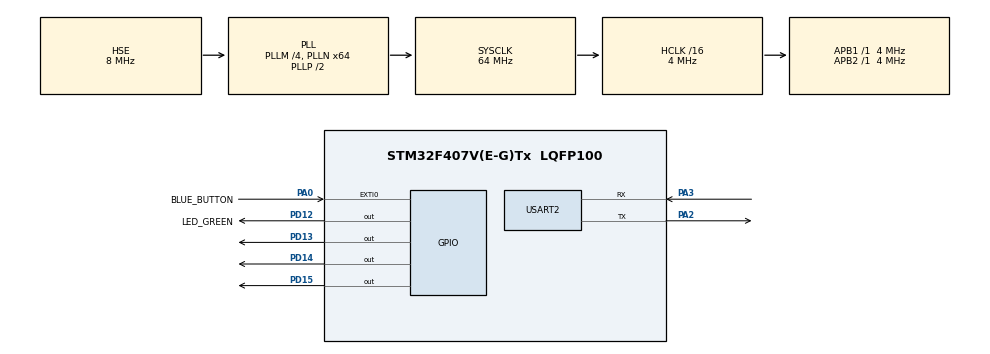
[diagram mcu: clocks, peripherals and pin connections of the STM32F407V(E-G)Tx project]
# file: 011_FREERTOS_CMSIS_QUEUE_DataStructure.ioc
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FREERTOS.Queues01=Queue1,8,Data,0,Dynamic,NULL,NULL
FREERTOS.Tasks01=Sender1,24,256,StartSender1,Default,NULL,Dynamic,NULL,NULL;Receiver,32,256,StartReceiver,Default,NULL,Dynamic,NULL,NULL;Sender2,24,256,StartSender2,Default,NULL,Dynamic,NULL,NULL
FREERTOS.configUSE_NEWLIB_REENTRANT=1
Mcu.Family=STM32F4
Mcu.Name=STM32F407V(E-G)Tx
Mcu.Package=LQFP100
NVIC.EXTI0_IRQn=true\:5\:0\:false\:false\:true\:true\:true\:true\:true
NVIC.PriorityGroup=NVIC_PRIORITYGROUP_4
NVIC.TIM8_TRG_COM_TIM14_IRQn=true\:15\:0\:false\:false\:true\:false\:false\:true\:true
NVIC.TimeBase=TIM8_TRG_COM_TIM14_IRQn
NVIC.TimeBaseIP=TIM14
NVIC.USART2_IRQn=true\:5\:0\:false\:false\:true\:true\:true\:true\:true
PA0-WKUP.GPIO_Label=BLUE_BUTTON
PA0-WKUP.Signal=GPXTI0
PA13.Mode=Trace_Asynchronous_SW
PA13.Signal=SYS_JTMS-SWDIO
PA14.Mode=Trace_Asynchronous_SW
PA14.Signal=SYS_JTCK-SWCLK
PA2.Mode=Asynchronous
PA2.Signal=USART2_TX
PA3.Mode=Asynchronous
PA3.Signal=USART2_RX
PB3.Mode=Trace_Asynchronous_SW
PB3.Signal=SYS_JTDO-SWO
PD12.GPIO_Label=LED_GREEN
PD12.Signal=GPIO_Output
PD13.Signal=GPIO_Output
PD14.Signal=GPIO_Output
PD15.Signal=GPIO_Output
PH0-OSC_IN.Mode=HSE-External-Oscillator
PH0-OSC_IN.Signal=RCC_OSC_IN
PH1-OSC_OUT.Mode=HSE-External-Oscillator
PH1-OSC_OUT.Signal=RCC_OSC_OUT
ProjectManager.HeapSize=0x200
ProjectManager.StackSize=0x400
ProjectManager.TargetToolchain=STM32CubeIDE
RCC.48MHZClocksFreq_Value=18285714.285714287
RCC.AHBCLKDivider=RCC_SYSCLK_DIV16
RCC.AHBFreq_Value=4000000
RCC.APB1Freq_Value=4000000
RCC.APB1TimFreq_Value=4000000
RCC.APB2Freq_Value=4000000
RCC.APB2TimFreq_Value=4000000
RCC.CortexFreq_Value=4000000
RCC.HCLKFreq_Value=4000000
RCC.HSE_VALUE=8000000
RCC.HSI_VALUE=16000000
RCC.LSE_VALUE=32768
RCC.PLLM=4
RCC.PLLN=64
RCC.PLLQ=7
RCC.PLLSourceVirtual=RCC_PLLSOURCE_HSE
RCC.SYSCLKFreq_VALUE=64000000
RCC.SYSCLKSource=RCC_SYSCLKSOURCE_PLLCLK
RCC.VCOOutputFreq_Value=128000000
USART2.VirtualMode=VM_ASYNC
VP_FREERTOS_VS_CMSIS_V2.Mode=CMSIS_V2
VP_SYS_VS_tim14.Mode=TIM14
board=STM32F407G-DISC1

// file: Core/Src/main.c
/* USER CODE BEGIN Header */
/**
  ******************************************************************************
  * @file           : main.c
  * @brief          : Main program body
  ******************************************************************************
  * @attention
  *
  * Copyright (c) 2023 STMicroelectronics.
  * All rights reserved.
  *
  * This software is licensed under terms that can be found in the LICENSE file
  * in the root directory of this software component.
  * If no LICENSE file comes with this software, it is provided AS-IS.
  *
  ******************************************************************************
  */
/* USER CODE END Header */
#include "main.h"
#include "cmsis_os.h"

/* USER CODE BEGIN PTD */
typedef struct
{
	uint16_t Value;
	uint8_t Source;
}Data;
/* USER CODE END PTD */

UART_HandleTypeDef huart2;

/* Definitions for Sender1 */
osThreadId_t Sender1Handle;
const osThreadAttr_t Sender1_attributes = {
  .name = "Sender1",
  .stack_size = 256 * 4,
  .priority = (osPriority_t) osPriorityNormal,
};
/* Definitions for Receiver */
osThreadId_t ReceiverHandle;
const osThreadAttr_t Receiver_attributes = {
  .name = "Receiver",
  .stack_size = 256 * 4,
  .priority = (osPriority_t) osPriorityAboveNormal,
};
/* Definitions for Sender2 */
osThreadId_t Sender2Handle;
const osThreadAttr_t Sender2_attributes = {
  .name = "Sender2",
  .stack_size = 256 * 4,
  .priority = (osPriority_t) osPriorityNormal,
};
/* Definitions for Queue1 */
osMessageQueueId_t Queue1Handle;
const osMessageQueueAttr_t Queue1_attributes = {
  .name = "Queue1"
};
/* USER CODE BEGIN PV */
Data DataToSend1 = {'a', 1};
Data DataToSend2 = {'b', 2};
/* USER CODE END PV */

void SystemClock_Config(void);
static void MX_GPIO_Init(void);
static void MX_USART2_UART_Init(void);
void StartSender1(void *argument);
void StartReceiver(void *argument);
void StartSender2(void *argument);

int main(void)
{

  /* MCU Configuration--------------------------------------------------------*/

  /* Reset of all peripherals, Initializes the Flash interface and the Systick. */
  HAL_Init();

  /* Configure the system clock */
  SystemClock_Config();

  /* Initialize all configured peripherals */
  MX_GPIO_Init();
  MX_USART2_UART_Init();

  /* Init scheduler */
  osKernelInitialize();

  /* Create the queue(s) */
  /* creation of Queue1 */
  Queue1Handle = osMessageQueueNew (8, sizeof(Data), &Queue1_attributes);

  /* Create the thread(s) */
  /* creation of Sender1 */
  Sender1Handle = osThreadNew(StartSender1, NULL, &Sender1_attributes);

  /* creation of Receiver */
  ReceiverHandle = osThreadNew(StartReceiver, NULL, &Receiver_attributes);

  /* creation of Sender2 */
  Sender2Handle = osThreadNew(StartSender2, NULL, &Sender2_attributes);

  /* Start scheduler */
  osKernelStart();
  /* We should never get here as control is now taken by the scheduler */
  /* Infinite loop */
  while (1)
  {

  }
}

void SystemClock_Config(void)
{
  RCC_OscInitTypeDef RCC_OscInitStruct = {0};
  RCC_ClkInitTypeDef RCC_ClkInitStruct = {0};

  /** Configure the main internal regulator output voltage
  */
  __HAL_RCC_PWR_CLK_ENABLE();
  __HAL_PWR_VOLTAGESCALING_CONFIG(PWR_REGULATOR_VOLTAGE_SCALE1);

  /** Initializes the RCC Oscillators according to the specified parameters
  * in the RCC_OscInitTypeDef structure.
  */
  RCC_OscInitStruct.OscillatorType = RCC_OSCILLATORTYPE_HSE;
  RCC_OscInitStruct.HSEState = RCC_HSE_ON;
  RCC_OscInitStruct.PLL.PLLState = RCC_PLL_ON;
  RCC_OscInitStruct.PLL.PLLSource = RCC_PLLSOURCE_HSE;
  RCC_OscInitStruct.PLL.PLLM = 4;
  RCC_OscInitStruct.PLL.PLLN = 64;
  RCC_OscInitStruct.PLL.PLLP = RCC_PLLP_DIV2;
  RCC_OscInitStruct.PLL.PLLQ = 7;
  if (HAL_RCC_OscConfig(&RCC_OscInitStruct) != HAL_OK)
  {
    Error_Handler();
  }

  /** Initializes the CPU, AHB and APB buses clocks
  */
  RCC_ClkInitStruct.ClockType = RCC_CLOCKTYPE_HCLK|RCC_CLOCKTYPE_SYSCLK
                              |RCC_CLOCKTYPE_PCLK1|RCC_CLOCKTYPE_PCLK2;
  RCC_ClkInitStruct.SYSCLKSource = RCC_SYSCLKSOURCE_PLLCLK;
  RCC_ClkInitStruct.AHBCLKDivider = RCC_SYSCLK_DIV16;
  RCC_ClkInitStruct.APB1CLKDivider = RCC_HCLK_DIV1;
  RCC_ClkInitStruct.APB2CLKDivider = RCC_HCLK_DIV1;

  if (HAL_RCC_ClockConfig(&RCC_ClkInitStruct, FLASH_LATENCY_0) != HAL_OK)
  {
    Error_Handler();
  }
}

static void MX_USART2_UART_Init(void)
{

  huart2.Instance = USART2;
  huart2.Init.BaudRate = 115200;
  huart2.Init.WordLength = UART_WORDLENGTH_8B;
  huart2.Init.StopBits = UART_STOPBITS_1;
  huart2.Init.Parity = UART_PARITY_NONE;
  huart2.Init.Mode = UART_MODE_TX_RX;
  huart2.Init.HwFlowCtl = UART_HWCONTROL_NONE;
  huart2.Init.OverSampling = UART_OVERSAMPLING_16;
  if (HAL_UART_Init(&huart2) != HAL_OK)
  {
    Error_Handler();
  }

}

static void MX_GPIO_Init(void)
{
  GPIO_InitTypeDef GPIO_InitStruct = {0};

  /* GPIO Ports Clock Enable */
  __HAL_RCC_GPIOH_CLK_ENABLE();
  __HAL_RCC_GPIOA_CLK_ENABLE();
  __HAL_RCC_GPIOD_CLK_ENABLE();
  __HAL_RCC_GPIOB_CLK_ENABLE();

  /*Configure GPIO pin Output Level */
  HAL_GPIO_WritePin(GPIOD, LED_GREEN_Pin|GPIO_PIN_13|GPIO_PIN_14|GPIO_PIN_15, GPIO_PIN_RESET);

  /*Configure GPIO pin : BLUE_BUTTON_Pin */
  GPIO_InitStruct.Pin = BLUE_BUTTON_Pin;
  GPIO_InitStruct.Mode = GPIO_MODE_IT_RISING;
  GPIO_InitStruct.Pull = GPIO_NOPULL;
  HAL_GPIO_Init(BLUE_BUTTON_GPIO_Port, &GPIO_InitStruct);

  /*Configure GPIO pins : LED_GREEN_Pin PD13 PD14 PD15 */
  GPIO_InitStruct.Pin = LED_GREEN_Pin|GPIO_PIN_13|GPIO_PIN_14|GPIO_PIN_15;
  GPIO_InitStruct.Mode = GPIO_MODE_OUTPUT_PP;
  GPIO_InitStruct.Pull = GPIO_NOPULL;
  GPIO_InitStruct.Speed = GPIO_SPEED_FREQ_LOW;
  HAL_GPIO_Init(GPIOD, &GPIO_InitStruct);

  /* EXTI interrupt init*/
  HAL_NVIC_SetPriority(EXTI0_IRQn, 5, 0);
  HAL_NVIC_EnableIRQ(EXTI0_IRQn);

}

/* USER CODE BEGIN 4 */
void Task_action(char message)
{
	ITM_SendChar(message);
	ITM_SendChar('\n');
}
/* USER CODE END 4 */

void StartSender1(void *argument)
{
  /* USER CODE BEGIN 5 */
  /* Infinite loop */
  for(;;)
  {
	Task_action('s');
	osMessageQueuePut(Queue1Handle, &DataToSend1, 0, 200);
    osDelay(200);
  }
  /* USER CODE END 5 */
}

void StartReceiver(void *argument)
{
  /* USER CODE BEGIN StartReceiver */
  Data retvalue;
  /* Infinite loop */
  for(;;)
  {
	  ITM_SendChar('R');
	  osMessageQueueGet(Queue1Handle, &retvalue, NULL, osWaitForever);
	  if(retvalue.Source == 1)
		  HAL_GPIO_WritePin(LED_GREEN_GPIO_Port, LED_GREEN_Pin, GPIO_PIN_SET);
	  else
		  HAL_GPIO_WritePin(LED_GREEN_GPIO_Port, LED_GREEN_Pin, GPIO_PIN_RESET);
	  Task_action(retvalue.Value);
  }
  /* USER CODE END StartReceiver */
}

void StartSender2(void *argument)
{
  /* USER CODE BEGIN StartSender2 */
  /* Infinite loop */
  for(;;)
  {
	  Task_action('S');
	  osMessageQueuePut(Queue1Handle, &DataToSend2, 0, 200);
	  osDelay(200);
  }
  /* USER CODE END StartSender2 */
}

void HAL_TIM_PeriodElapsedCallback(TIM_HandleTypeDef *htim)
{
  if (htim->Instance == TIM14) {
    HAL_IncTick();
  }
}

void Error_Handler(void)
{
  __disable_irq();
  while (1)
  {
  }
}
